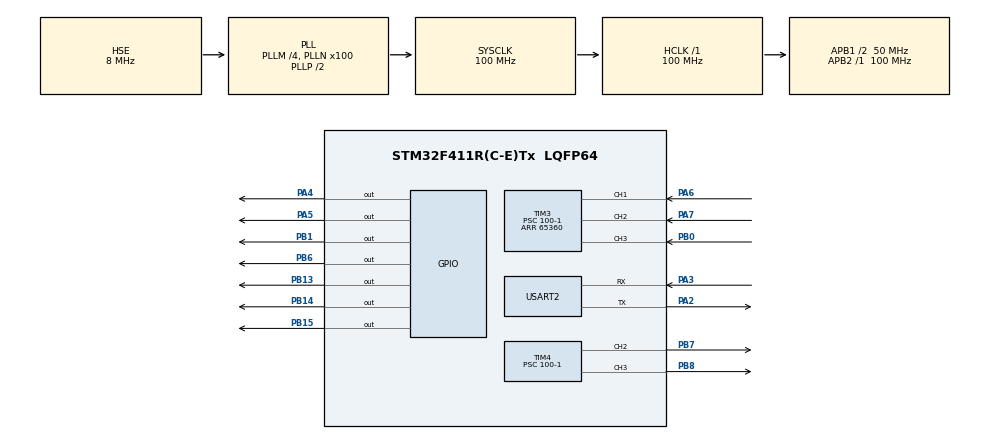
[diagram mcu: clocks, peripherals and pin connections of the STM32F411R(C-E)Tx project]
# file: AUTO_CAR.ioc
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FREERTOS.Tasks01=ultrasonic_TASK,24,128,ultrasonic,Default,NULL,Dynamic,NULL,NULL;RC_car_TASK,8,128,RC_Car,Default,NULL,Dynamic,NULL,NULL
FREERTOS.configUSE_NEWLIB_REENTRANT=1
Mcu.Family=STM32F4
Mcu.Name=STM32F411R(C-E)Tx
Mcu.Package=LQFP64
NVIC.PriorityGroup=NVIC_PRIORITYGROUP_4
NVIC.TIM1_TRG_COM_TIM11_IRQn=true\:5\:0\:false\:false\:true\:true\:true\:true\:true
NVIC.TIM1_UP_TIM10_IRQn=true\:15\:0\:false\:false\:true\:false\:false\:true\:true
NVIC.TIM3_IRQn=true\:5\:0\:false\:false\:true\:true\:true\:true\:true
NVIC.TimeBase=TIM1_UP_TIM10_IRQn
NVIC.TimeBaseIP=TIM1
NVIC.USART2_IRQn=true\:5\:0\:false\:false\:true\:true\:true\:true\:true
PA13.Mode=Serial_Wire
PA13.Signal=SYS_JTMS-SWDIO
PA14.Mode=Serial_Wire
PA14.Signal=SYS_JTCK-SWCLK
PA2.Mode=Asynchronous
PA2.Signal=USART2_TX
PA3.Mode=Asynchronous
PA3.Signal=USART2_RX
PA4.Signal=GPIO_Output
PA5.Signal=GPIO_Output
PA6.Signal=S_TIM3_CH1
PA7.Signal=S_TIM3_CH2
PB0.Signal=S_TIM3_CH3
PB1.Signal=GPIO_Output
PB13.Signal=GPIO_Output
PB14.Signal=GPIO_Output
PB15.Signal=GPIO_Output
PB6.Signal=GPIO_Output
PB7.Signal=S_TIM4_CH2
PB8.Signal=S_TIM4_CH3
PH0\ -\ OSC_IN.Mode=HSE-External-Oscillator
PH0\ -\ OSC_IN.Signal=RCC_OSC_IN
PH1\ -\ OSC_OUT.Mode=HSE-External-Oscillator
PH1\ -\ OSC_OUT.Signal=RCC_OSC_OUT
ProjectManager.HeapSize=0x200
ProjectManager.StackSize=0x400
ProjectManager.TargetToolchain=STM32CubeIDE
RCC.48MHZClocksFreq_Value=50000000
RCC.AHBFreq_Value=100000000
RCC.APB1CLKDivider=RCC_HCLK_DIV2
RCC.APB1Freq_Value=50000000
RCC.APB1TimFreq_Value=100000000
RCC.APB2Freq_Value=100000000
RCC.APB2TimFreq_Value=100000000
RCC.CortexFreq_Value=100000000
RCC.HCLKFreq_Value=100000000
RCC.HSE_VALUE=8000000
RCC.HSI_VALUE=16000000
RCC.LSE_VALUE=32768
RCC.PLLM=4
RCC.PLLN=100
RCC.PLLSourceVirtual=RCC_PLLSOURCE_HSE
RCC.SYSCLKFreq_VALUE=100000000
RCC.SYSCLKSource=RCC_SYSCLKSOURCE_PLLCLK
RCC.VCOOutputFreq_Value=200000000
SH.S_TIM3_CH1.0=TIM3_CH1,Input_Capture1_from_TI1
SH.S_TIM3_CH2.0=TIM3_CH2,Input_Capture2_from_TI2
SH.S_TIM3_CH3.0=TIM3_CH3,Input_Capture3_from_TI3
SH.S_TIM4_CH2.0=TIM4_CH2,PWM Generation2 CH2
SH.S_TIM4_CH3.0=TIM4_CH3,PWM Generation3 CH3
TIM11.Prescaler=100-1
TIM3.Channel-Input_Capture1_from_TI1=TIM_CHANNEL_1
TIM3.Channel-Input_Capture2_from_TI2=TIM_CHANNEL_2
TIM3.Channel-Input_Capture3_from_TI3=TIM_CHANNEL_3
TIM3.Period=65360
TIM3.Prescaler=100-1
TIM4.Channel-PWM\ Generation2\ CH2=TIM_CHANNEL_2
TIM4.Channel-PWM\ Generation3\ CH3=TIM_CHANNEL_3
TIM4.Period=1000-1
TIM4.Prescaler=100-1
USART2.VirtualMode=VM_ASYNC
VP_FREERTOS_VS_CMSIS_V2.Mode=CMSIS_V2
VP_SYS_VS_tim1.Mode=TIM1
VP_TIM11_VS_ClockSourceINT.Mode=Enable_Timer
VP_TIM4_VS_ClockSourceINT.Mode=Internal
board=custom

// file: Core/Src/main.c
/* USER CODE BEGIN Header */
/**
  ******************************************************************************
  * @file           : main.c
  * @brief          : Main program body
  ******************************************************************************
  * @attention
  *
  * Copyright (c) 2025 STMicroelectronics.
  * All rights reserved.
  *
  * This software is licensed under terms that can be found in the LICENSE file
  * in the root directory of this software component.
  * If no LICENSE file comes with this software, it is provided AS-IS.
  *
  ******************************************************************************
  */
/* USER CODE END Header */
#include "main.h"
#include "cmsis_os.h"
#include "tim.h"
#include "usart.h"
#include "gpio.h"

/* USER CODE BEGIN Includes */
#include "delay_us.h"
#include "ultrasonic.h"
#include "RC_car.h"
#include  <stdio.h>
/* USER CODE END Includes */

/* USER CODE BEGIN PD */
uint8_t rxData;

/* USER CODE END PD */

/* USER CODE BEGIN PM */
int _write(int file, unsigned char* p, int len)
{
    HAL_StatusTypeDef status = HAL_UART_Transmit(&huart2, p, len, 100);
    return (status == HAL_OK ? len : 0);
}
/* USER CODE END PM */

void SystemClock_Config(void);
void MX_FREERTOS_Init(void);

/* USER CODE BEGIN 0 */

/* --- 캡처 콜백 --- */
void HAL_TIM_IC_CaptureCallback(TIM_HandleTypeDef *htim)
{
   /* --- CENTER --- */
   if(htim->Channel == HAL_TIM_ACTIVE_CHANNEL_1)
   {
       if(captureCenterFlag == 0)
       {
           IC_Center1 = HAL_TIM_ReadCapturedValue(&htim3, TIM_CHANNEL_1);
           captureCenterFlag = 1;
           __HAL_TIM_SET_CAPTUREPOLARITY(&htim3, TIM_CHANNEL_1, TIM_INPUTCHANNELPOLARITY_FALLING);
       }
       else
       {
           IC_Center2 = HAL_TIM_ReadCapturedValue(&htim3, TIM_CHANNEL_1);
           __HAL_TIM_SET_CAPTUREPOLARITY(&htim3, TIM_CHANNEL_1, TIM_INPUTCHANNELPOLARITY_RISING);
           echoTimeCenter = (IC_Center2 > IC_Center1) ? (IC_Center2 - IC_Center1) : (0xFFFF - IC_Center1 + IC_Center2);
           distance = echoTimeCenter / 58;
           captureCenterFlag = 0;
       }
   }

   /* --- LEFT --- */
   if(htim->Channel == HAL_TIM_ACTIVE_CHANNEL_2)
   {
       if(captureLeftFlag == 0)
       {
           IC_Left1 = HAL_TIM_ReadCapturedValue(&htim3, TIM_CHANNEL_2);
           captureLeftFlag = 1;
           __HAL_TIM_SET_CAPTUREPOLARITY(&htim3, TIM_CHANNEL_2, TIM_INPUTCHANNELPOLARITY_FALLING);
       }
       else
       {
           IC_Left2 = HAL_TIM_ReadCapturedValue(&htim3, TIM_CHANNEL_2);
           __HAL_TIM_SET_CAPTUREPOLARITY(&htim3, TIM_CHANNEL_2, TIM_INPUTCHANNELPOLARITY_RISING);
           echoTimeLeft = (IC_Left2 > IC_Left1) ? (IC_Left2 - IC_Left1) : (0xFFFF - IC_Left1 + IC_Left2);
           distance_Left = echoTimeLeft / 58;
           captureLeftFlag = 0;
       }
   }

   /* --- RIGHT --- */
   if(htim->Channel == HAL_TIM_ACTIVE_CHANNEL_3)
   {
       if(captureRightFlag == 0)
       {
           IC_Right1 = HAL_TIM_ReadCapturedValue(&htim3, TIM_CHANNEL_3);
           captureRightFlag = 1;
           __HAL_TIM_SET_CAPTUREPOLARITY(&htim3, TIM_CHANNEL_3, TIM_INPUTCHANNELPOLARITY_FALLING);
       }
       else
       {
           IC_Right2 = HAL_TIM_ReadCapturedValue(&htim3, TIM_CHANNEL_3);
           __HAL_TIM_SET_CAPTUREPOLARITY(&htim3, TIM_CHANNEL_3, TIM_INPUTCHANNELPOLARITY_RISING);
           echoTimeRight = (IC_Right2 > IC_Right1) ? (IC_Right2 - IC_Right1) : (0xFFFF - IC_Right1 + IC_Right2);
           distance_Right = echoTimeRight / 58;
           captureRightFlag = 0;
       }
   }
}

/* USER CODE END 0 */

int main(void)
{

  /* MCU Configuration--------------------------------------------------------*/

  /* Reset of all peripherals, Initializes the Flash interface and the Systick. */
  HAL_Init();

  /* Configure the system clock */
  SystemClock_Config();

  /* Initialize all configured peripherals */
  MX_GPIO_Init();
  MX_TIM3_Init();
  MX_TIM11_Init();
  MX_USART2_UART_Init();
  MX_TIM4_Init();
  /* USER CODE BEGIN 2 */
  HAL_TIM_Base_Start(&htim11);   // for delay_us() function
  HAL_TIM_IC_Start_IT(&htim3, TIM_CHANNEL_1);
  HAL_TIM_IC_Start_IT(&htim3, TIM_CHANNEL_2);
  HAL_TIM_IC_Start_IT(&htim3, TIM_CHANNEL_3);
  HAL_TIM_PWM_Start(&htim4, TIM_CHANNEL_2);
  HAL_TIM_PWM_Start(&htim4, TIM_CHANNEL_3);

  HAL_UART_Receive_IT(&huart2, &rxData, 1);

  /* USER CODE END 2 */

  /* Init scheduler */
  osKernelInitialize();  /* Call init function for freertos objects (in cmsis_os2.c) */
  MX_FREERTOS_Init();

  /* Start scheduler */
  osKernelStart();

  /* We should never get here as control is now taken by the scheduler */

  /* Infinite loop */
  while (1)
  {

  }
}

void SystemClock_Config(void)
{
  RCC_OscInitTypeDef RCC_OscInitStruct = {0};
  RCC_ClkInitTypeDef RCC_ClkInitStruct = {0};

  /** Configure the main internal regulator output voltage
  */
  __HAL_RCC_PWR_CLK_ENABLE();
  __HAL_PWR_VOLTAGESCALING_CONFIG(PWR_REGULATOR_VOLTAGE_SCALE1);

  /** Initializes the RCC Oscillators according to the specified parameters
  * in the RCC_OscInitTypeDef structure.
  */
  RCC_OscInitStruct.OscillatorType = RCC_OSCILLATORTYPE_HSE;
  RCC_OscInitStruct.HSEState = RCC_HSE_ON;
  RCC_OscInitStruct.PLL.PLLState = RCC_PLL_ON;
  RCC_OscInitStruct.PLL.PLLSource = RCC_PLLSOURCE_HSE;
  RCC_OscInitStruct.PLL.PLLM = 4;
  RCC_OscInitStruct.PLL.PLLN = 100;
  RCC_OscInitStruct.PLL.PLLP = RCC_PLLP_DIV2;
  RCC_OscInitStruct.PLL.PLLQ = 4;
  if (HAL_RCC_OscConfig(&RCC_OscInitStruct) != HAL_OK)
  {
    Error_Handler();
  }

  /** Initializes the CPU, AHB and APB buses clocks
  */
  RCC_ClkInitStruct.ClockType = RCC_CLOCKTYPE_HCLK|RCC_CLOCKTYPE_SYSCLK
                              |RCC_CLOCKTYPE_PCLK1|RCC_CLOCKTYPE_PCLK2;
  RCC_ClkInitStruct.SYSCLKSource = RCC_SYSCLKSOURCE_PLLCLK;
  RCC_ClkInitStruct.AHBCLKDivider = RCC_SYSCLK_DIV1;
  RCC_ClkInitStruct.APB1CLKDivider = RCC_HCLK_DIV2;
  RCC_ClkInitStruct.APB2CLKDivider = RCC_HCLK_DIV1;

  if (HAL_RCC_ClockConfig(&RCC_ClkInitStruct, FLASH_LATENCY_3) != HAL_OK)
  {
    Error_Handler();
  }
}

void HAL_TIM_PeriodElapsedCallback(TIM_HandleTypeDef *htim)
{
  if (htim->Instance == TIM1)
  {
    HAL_IncTick();
  }
}

void Error_Handler(void)
{
  __disable_irq();
  while (1)
  {
  }
}

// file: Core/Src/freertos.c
/* USER CODE BEGIN Header */
/**
  ******************************************************************************
  * File Name          : freertos.c
  * Description        : Code for freertos applications
  ******************************************************************************
  * @attention
  *
  * Copyright (c) 2025 STMicroelectronics.
  * All rights reserved.
  *
  * This software is licensed under terms that can be found in the LICENSE file
  * in the root directory of this software component.
  * If no LICENSE file comes with this software, it is provided AS-IS.
  *
  ******************************************************************************
  */
/* USER CODE END Header */

#include "FreeRTOS.h"
#include "task.h"
#include "main.h"
#include "cmsis_os.h"
#include "delay_us.h"
#include "ultrasonic.h"
#include "RC_car.h"
#include "usart.h"
#include "tim.h"
#include "gpio.h"
#include <stdio.h>
#include <stdlib.h>  // <-- abs() 사용하려면 추가

/* Definitions for ultrasonic_TASK */
osThreadId_t ultrasonic_TASKHandle;
const osThreadAttr_t ultrasonic_TASK_attributes = {
  .name = "ultrasonic_TASK",
  .stack_size = 128 * 4,
  .priority = (osPriority_t) osPriorityNormal,
};
/* Definitions for RC_car_TASK */
osThreadId_t RC_car_TASKHandle;
const osThreadAttr_t RC_car_TASK_attributes = {
  .name = "RC_car_TASK",
  .stack_size = 128 * 4,
  .priority = (osPriority_t) osPriorityLow,
};

void ultrasonic(void *argument);
void RC_Car(void *argument);

void MX_FREERTOS_Init(void); /* (MISRA C 2004 rule 8.1) */

/* 외부 변수 선언 */
extern uint8_t distance_Left;
extern uint8_t distance;
extern uint8_t distance_Right;

/* 외부 함수 선언 */
extern void HCSR04_TRIGGER(GPIO_TypeDef* port, uint16_t pin);
extern void Car_Forward(void);
extern void Car_Backward(void);
extern void Car_Left(void);
extern void Car_Right(void);
extern void Car_Stop(void);

void MX_FREERTOS_Init(void) {

  /* Create the thread(s) */
  /* creation of ultrasonic_TASK */
  ultrasonic_TASKHandle = osThreadNew(ultrasonic, NULL, &ultrasonic_TASK_attributes);

  /* creation of RC_car_TASK */
  RC_car_TASKHandle = osThreadNew(RC_Car, NULL, &RC_car_TASK_attributes);

}

void ultrasonic(void *argument)
{
  /* USER CODE BEGIN ultrasonic */
  /* Infinite loop */
  for(;;)
  {
      static uint8_t sensor_state = 0;

      if (sensor_state == 0)
      {
        HCSR04_TRIGGER(TRIG_LEFT_PORT, TRIG_LEFT_PIN);
        sensor_state = 1;
      }
      else if (sensor_state == 1)
      {
        HCSR04_TRIGGER(TRIG_CENTER_PORT, TRIG_CENTER_PIN);
        sensor_state = 2;
      }
      else
      {
        HCSR04_TRIGGER(TRIG_RIGHT_PORT, TRIG_RIGHT_PIN);
        sensor_state = 0;
      }

      vTaskDelay(pdMS_TO_TICKS(50)); // 50ms 주기
    }
    /* USER CODE END ultrasonic */
  }

void RC_Car(void *argument)
{
  /* USER CODE BEGIN RC_Car */
  /* Infinite loop */
  for(;;)
  {
         printf("L:%d C:%d R:%d\r\n", distance_Left, distance, distance_Right);

         // 기본 전진
         Car_Forward();
         TIM4->CCR2 = 900; // 왼쪽 모터 속도
         TIM4->CCR3 = 900; // 오른쪽 모터 속도

         if(distance < 40) // 장애물이 어느 정도 가까워지면 회피 판단
         {
             // 한 주기 내에서 좌우 판단을 2~3번 반복
             for(int i = 0; i < 3; i++)
             {
                 // 좌우 센서 차이에 따른 회전
                 if(distance_Left > (distance_Right + 10))
                 {
                     TIM4->CCR2 = 300;
                     TIM4->CCR3 = 900;
                     Car_Left();
                 }
                 else if(distance_Right > (distance_Left + 10))
                 {
                     TIM4->CCR2 = 900;
                     TIM4->CCR3 = 300;
                     Car_Right();
                 }
                 // 가까이 있는 장애물 처리
                 else if(distance_Left <= 15)  // 왼쪽 장애물
                 {
                     TIM4->CCR2 = 900;
                     TIM4->CCR3 = 300;
                     Car_Right();
                 }
                 else if(distance_Right <= 15) // 오른쪽 장애물
                 {
                     TIM4->CCR2 = 300;
                     TIM4->CCR3 = 900;
                     Car_Left();
                 }
                 // 짧은 지연으로 센서 안정화
                 vTaskDelay(pdMS_TO_TICKS(20));
             }
         }

         // 주기 지연
         vTaskDelay(pdMS_TO_TICKS(80));
     }
 }
